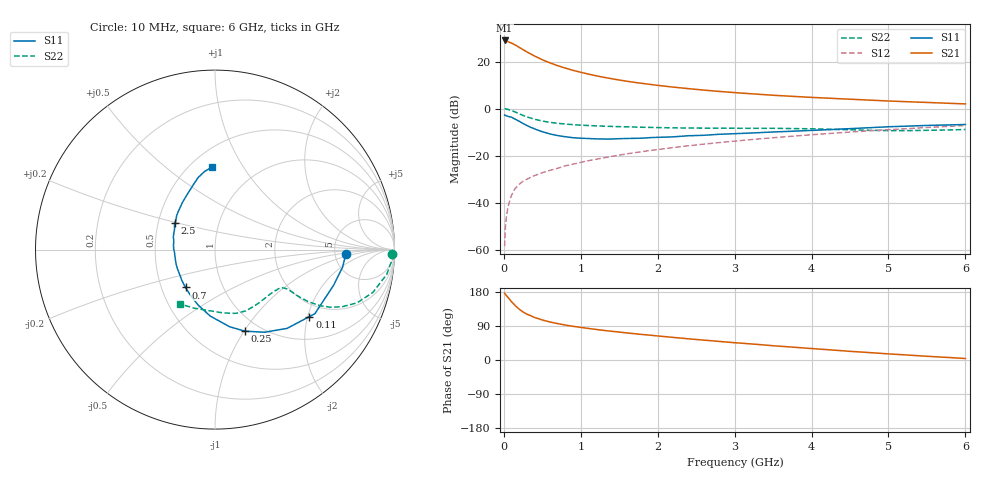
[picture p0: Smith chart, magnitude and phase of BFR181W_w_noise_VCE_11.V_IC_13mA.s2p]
! Infineon Technologies  Discrete & RF Semiconductors
! BFR181W
! VCE =  11. V,  IC =  13 mA
! Common Emitter S-Parameters:  Jan 2017
# GHz  S  MA  R  50
!  f  S11  S21  S12  S22
! GHz  MAG  ANG  MAG  ANG  MAG  ANG  MAG  ANG
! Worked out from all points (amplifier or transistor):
!   77 points, 10 MHz to 6 GHz, reference 50 ohm
!   highest |S21| = 28.9 dB at 10 MHz (marker M1)
!   |S21| within 3 dB of that: start of sweep to 203.5 MHz
!   unconditionally stable (mu >= 1): 967.7 MHz to 2.984 GHz
!   at 130 MHz: K = 0.30, MSG = 31.1 dB, |S12| = -34.9 dB
!   at 2.2 GHz: K = 1.05, MAG = 11.5 dB, |S12| = -16.6 dB
!   at 6 GHz: K = 0.85, MSG = 4.6 dB, |S12| = -7.2 dB
!   lowest NFmin = 1.39 dB at 450 MHz
!   S11 on the Smith chart (normalised r, x): 10 MHz: 6.29, -0.72; 110 MHz: 1.60, -2.05; 250 MHz: 0.85, -1.01; 700 MHz: 0.66, -0.30; 2.5 GHz: 0.61, +0.20; 6 GHz: 0.63, +0.74
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0.01  0.7288 -2.1  28.01 176.3  0.0012 87.9  0.9875 -1.4
0.02  0.7175 -7.9  27.56 173.2  0.003 89.0  0.9891 -3.1
0.05  0.6904 -16.6  26.58 166.1  0.0074 79.3  0.9675 -8.1
0.1  0.6613 -32.7  24.72 153.6  0.0144 78.5  0.9114 -15.2
0.11  0.6448 -35.4  24.2 151.6  0.0156 76.2  0.8974 -16.2
0.15  0.5951 -47.5  22.41 143.0  0.0204 69.6  0.8442 -20.6
0.2  0.5372 -59.0  19.99 134.0  0.0247 67.5  0.7766 -24.2
0.25  0.4838 -69.9  17.88 126.7  0.0288 65.1  0.7173 -26.6
0.3  0.4373 -79.3  15.96 120.9  0.0317 63.6  0.6665 -28.0
0.4  0.3713 -94.1  13.06 112.0  0.0379 62.8  0.5939 -29.2
0.5  0.3233 -106.8  10.91 105.6  0.0435 63.0  0.5446 -29.3
0.6  0.2903 -117.8  9.358 100.3  0.049 64.5  0.5112 -29.1
0.7  0.2674 -127.9  8.16 96.0  0.0541 65.7  0.4873 -28.8
0.9  0.241 -144.7  6.495 88.9  0.0661 66.9  0.4565 -28.7
1.1  0.2317 -159.0  5.405 83.3  0.0784 68.0  0.4379 -29.2
1.5  0.23 179.4  4.049 73.7  0.1029 68.6  0.4137 -32.0
2.1  0.2482 156.8  2.989 61.6  0.1419 67.5  0.3935 -39.7
2.5  0.2683 146.0  2.562 54.2  0.1693 66.0  0.3864 -46.4
3.1  0.298 132.4  2.132 44.2  0.2113 63.0  0.3822 -56.7
4.1  0.3504 115.1  1.701 28.8  0.2863 56.4  0.3691 -74.0
5.1  0.417 102.1  1.431 14.9  0.3647 48.4  0.341 -98.4
6  0.4604 92.0  1.259 3.9  0.4374 40.0  0.3607 -123.0
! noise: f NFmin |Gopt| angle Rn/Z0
0.45  1.39  0.08  17  0.21
0.9  1.43  0.08  31  0.21
1.9  1.86  0.09  -144  0.21
2.4  2.07  0.11  -109  0.26
